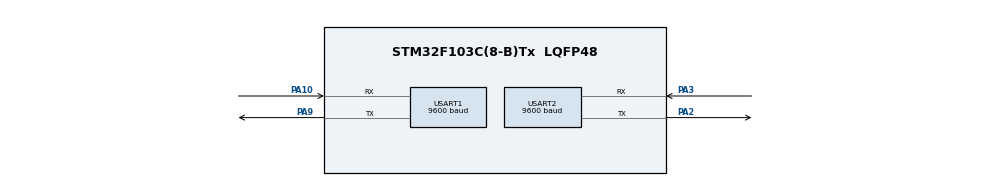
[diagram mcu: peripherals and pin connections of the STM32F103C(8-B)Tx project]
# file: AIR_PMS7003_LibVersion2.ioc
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Mcu.Family=STM32F1
Mcu.Name=STM32F103C(8-B)Tx
Mcu.Package=LQFP48
NVIC.PriorityGroup=NVIC_PRIORITYGROUP_4
NVIC.USART1_IRQn=true\:0\:0\:false\:false\:true\:true
NVIC.USART2_IRQn=true\:0\:0\:false\:false\:true\:true
PA10.Mode=Asynchronous
PA10.Signal=USART1_RX
PA13.Mode=Serial_Wire
PA13.Signal=SYS_JTMS-SWDIO
PA14.Mode=Serial_Wire
PA14.Signal=SYS_JTCK-SWCLK
PA2.Mode=Asynchronous
PA2.Signal=USART2_TX
PA3.Mode=Asynchronous
PA3.Signal=USART2_RX
PA9.Mode=Asynchronous
PA9.Signal=USART1_TX
PD0-OSC_IN.Mode=HSE-External-Oscillator
PD0-OSC_IN.Signal=RCC_OSC_IN
PD1-OSC_OUT.Mode=HSE-External-Oscillator
PD1-OSC_OUT.Signal=RCC_OSC_OUT
ProjectManager.HeapSize=0x200
ProjectManager.StackSize=0x400
ProjectManager.TargetToolchain=MDK-ARM V5
RCC.APB1Freq_Value=8000000
RCC.APB2Freq_Value=8000000
USART1.BaudRate=9600
USART1.VirtualMode=VM_ASYNC
USART2.BaudRate=9600
USART2.VirtualMode=VM_ASYNC
board=AIR_PMS7003_LibVersion2

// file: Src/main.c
/**
  ******************************************************************************
  * @file           : main.c
  * @brief          : Main program body
  ******************************************************************************
  ** This notice applies to any and all portions of this file
  * that are not between comment pairs USER CODE BEGIN and
  * USER CODE END. Other portions of this file, whether
  * inserted by the user or by software development tools
  * are owned by their respective copyright owners.
  *
  * COPYRIGHT(c) 2018 STMicroelectronics
  *
  * Redistribution and use in source and binary forms, with or without modification,
  * are permitted provided that the following conditions are met:
  *   1. Redistributions of source code must retain the above copyright notice,
  *      this list of conditions and the following disclaimer.
  *   2. Redistributions in binary form must reproduce the above copyright notice,
  *      this list of conditions and the following disclaimer in the documentation
  *      and/or other materials provided with the distribution.
  *   3. Neither the name of STMicroelectronics nor the names of its contributors
  *      may be used to endorse or promote products derived from this software
  *      without specific prior written permission.
  *
  * THIS SOFTWARE IS PROVIDED BY THE COPYRIGHT HOLDERS AND CONTRIBUTORS "AS IS"
  * AND ANY EXPRESS OR IMPLIED WARRANTIES, INCLUDING, BUT NOT LIMITED TO, THE
  * IMPLIED WARRANTIES OF MERCHANTABILITY AND FITNESS FOR A PARTICULAR PURPOSE ARE
  * DISCLAIMED. IN NO EVENT SHALL THE COPYRIGHT HOLDER OR CONTRIBUTORS BE LIABLE
  * FOR ANY DIRECT, INDIRECT, INCIDENTAL, SPECIAL, EXEMPLARY, OR CONSEQUENTIAL
  * DAMAGES (INCLUDING, BUT NOT LIMITED TO, PROCUREMENT OF SUBSTITUTE GOODS OR
  * SERVICES; LOSS OF USE, DATA, OR PROFITS; OR BUSINESS INTERRUPTION) HOWEVER
  * CAUSED AND ON ANY THEORY OF LIABILITY, WHETHER IN CONTRACT, STRICT LIABILITY,
  * OR TORT (INCLUDING NEGLIGENCE OR OTHERWISE) ARISING IN ANY WAY OUT OF THE USE
  * OF THIS SOFTWARE, EVEN IF ADVISED OF THE POSSIBILITY OF SUCH DAMAGE.
  *
  ******************************************************************************
  */
#include "main.h"
#include "stm32f1xx_hal.h"

/* USER CODE BEGIN Includes */
#include "pms7003.h"
#include "string.h"
/* USER CODE END Includes */

UART_HandleTypeDef huart1;
UART_HandleTypeDef huart2;

/* USER CODE BEGIN PV */
/* Private variables ---------------------------------------------------------*/
extern struct PMS7003_Data pms7003;
/* USER CODE END PV */

void SystemClock_Config(void);
static void MX_GPIO_Init(void);
static void MX_USART1_UART_Init(void);
static void MX_USART2_UART_Init(void);

/* USER CODE BEGIN PFP */
/* Private function prototypes -----------------------------------------------*/

/* USER CODE END PFP */

/* USER CODE BEGIN 0 */
//void HAL_UART_RxCpltCallback(UART_HandleTypeDef *huart) {
//if(huart->Instance == USART2){
// PMS7003_ReceiveData(&huart2);
//		}
//}
/* USER CODE END 0 */

int main(void)
{

  /* MCU Configuration----------------------------------------------------------*/

  /* Reset of all peripherals, Initializes the Flash interface and the Systick. */
  HAL_Init();

  /* Configure the system clock */
  SystemClock_Config();

  /* Initialize all configured peripherals */
  MX_GPIO_Init();
  MX_USART1_UART_Init();
  MX_USART2_UART_Init();
  /* Infinite loop */
  while (1)
  {
  /* USER CODE BEGIN 3 */

		if(PMS7003_ReceiveData(&huart2) == PMS7003_RECEIVED){
		printf("Frame: %d\r\n ",pms7003.frame);
		printf("Checksum: %d\r\n ",pms7003.checksum);
		printf("PM1.0: %d ",pms7003.pm1p0);
		printf("PM2.5: %d ",pms7003.pm2p5);
		printf("PM10: %d\r\n",pms7003.pm10);
		printf("-PM1.0: %d",pms7003.pm1p0_ATM);
		printf("-PM2.5: %d",pms7003.pm2p5_ATM);
		printf("-PM10 %d\r\n",pms7003.pm10_ATM);

		}

  }
  /* USER CODE END 3 */

}

void SystemClock_Config(void)
{

  RCC_OscInitTypeDef RCC_OscInitStruct;
  RCC_ClkInitTypeDef RCC_ClkInitStruct;

    /**Initializes the CPU, AHB and APB busses clocks
    */
  RCC_OscInitStruct.OscillatorType = RCC_OSCILLATORTYPE_HSI;
  RCC_OscInitStruct.HSIState = RCC_HSI_ON;
  RCC_OscInitStruct.HSICalibrationValue = 16;
  RCC_OscInitStruct.PLL.PLLState = RCC_PLL_NONE;
  if (HAL_RCC_OscConfig(&RCC_OscInitStruct) != HAL_OK)
  {
    _Error_Handler(__FILE__, __LINE__);
  }

    /**Initializes the CPU, AHB and APB busses clocks
    */
  RCC_ClkInitStruct.ClockType = RCC_CLOCKTYPE_HCLK|RCC_CLOCKTYPE_SYSCLK
                              |RCC_CLOCKTYPE_PCLK1|RCC_CLOCKTYPE_PCLK2;
  RCC_ClkInitStruct.SYSCLKSource = RCC_SYSCLKSOURCE_HSI;
  RCC_ClkInitStruct.AHBCLKDivider = RCC_SYSCLK_DIV1;
  RCC_ClkInitStruct.APB1CLKDivider = RCC_HCLK_DIV1;
  RCC_ClkInitStruct.APB2CLKDivider = RCC_HCLK_DIV1;

  if (HAL_RCC_ClockConfig(&RCC_ClkInitStruct, FLASH_LATENCY_0) != HAL_OK)
  {
    _Error_Handler(__FILE__, __LINE__);
  }

    /**Configure the Systick interrupt time
    */
  HAL_SYSTICK_Config(HAL_RCC_GetHCLKFreq()/1000);

    /**Configure the Systick
    */
  HAL_SYSTICK_CLKSourceConfig(SYSTICK_CLKSOURCE_HCLK);

  /* SysTick_IRQn interrupt configuration */
  HAL_NVIC_SetPriority(SysTick_IRQn, 0, 0);
}

/* USART1 init function */
static void MX_USART1_UART_Init(void)
{

  huart1.Instance = USART1;
  huart1.Init.BaudRate = 9600;
  huart1.Init.WordLength = UART_WORDLENGTH_8B;
  huart1.Init.StopBits = UART_STOPBITS_1;
  huart1.Init.Parity = UART_PARITY_NONE;
  huart1.Init.Mode = UART_MODE_TX_RX;
  huart1.Init.HwFlowCtl = UART_HWCONTROL_NONE;
  huart1.Init.OverSampling = UART_OVERSAMPLING_16;
  if (HAL_UART_Init(&huart1) != HAL_OK)
  {
    _Error_Handler(__FILE__, __LINE__);
  }

}

/* USART2 init function */
static void MX_USART2_UART_Init(void)
{

  huart2.Instance = USART2;
  huart2.Init.BaudRate = 9600;
  huart2.Init.WordLength = UART_WORDLENGTH_8B;
  huart2.Init.StopBits = UART_STOPBITS_1;
  huart2.Init.Parity = UART_PARITY_NONE;
  huart2.Init.Mode = UART_MODE_TX_RX;
  huart2.Init.HwFlowCtl = UART_HWCONTROL_NONE;
  huart2.Init.OverSampling = UART_OVERSAMPLING_16;
  if (HAL_UART_Init(&huart2) != HAL_OK)
  {
    _Error_Handler(__FILE__, __LINE__);
  }

}

/** Configure pins as
        * Analog
        * Input
        * Output
        * EVENT_OUT
        * EXTI
*/
static void MX_GPIO_Init(void)
{

  /* GPIO Ports Clock Enable */
  __HAL_RCC_GPIOD_CLK_ENABLE();
  __HAL_RCC_GPIOA_CLK_ENABLE();

}

/* USER CODE BEGIN 4 */
#ifdef __GNUC__
  #define PUTCHAR_PROTOTYPE int __io_putchar(int ch)
#else
  #define PUTCHAR_PROTOTYPE int fputc(int ch, FILE *f)
#endif /* __GNUC__ */
PUTCHAR_PROTOTYPE
{
    HAL_UART_Transmit(&huart1, (uint8_t *)&ch, 1, 100);
    return ch;
}
/* USER CODE END 4 */

void _Error_Handler(char *file, int line)
{
  while(1)
  {
  }
}

/************************ (C) COPYRIGHT STMicroelectronics *****END OF FILE****/
